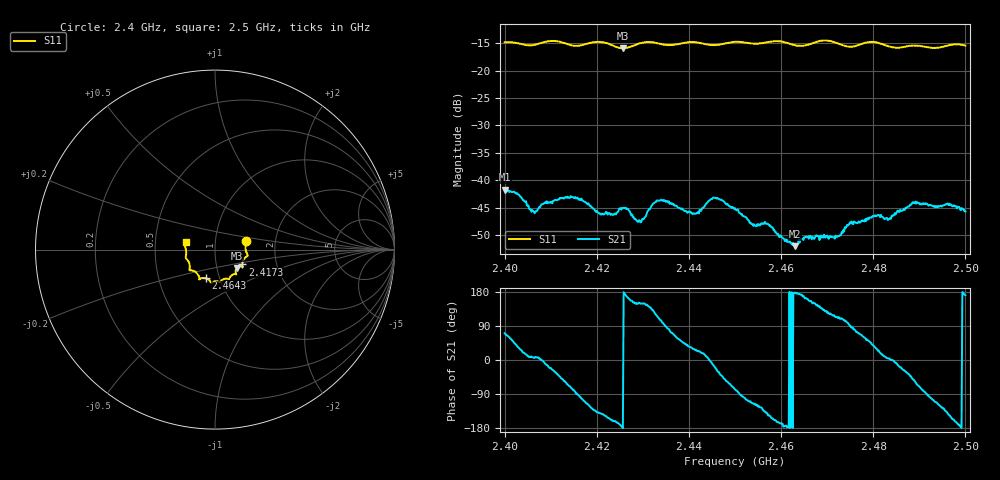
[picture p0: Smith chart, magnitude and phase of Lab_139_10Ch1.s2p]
# Hz S RI R 50
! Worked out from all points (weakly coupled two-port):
!   601 points, 2.4 GHz to 2.5 GHz, reference 50 ohm
!   highest |S21| = -41.74 dB at 2.4 GHz (marker M1); lowest = -52.0 dB at 2.463 GHz (marker M2)
!   lowest |S11| = -15.9 dB at 2.4257 GHz (marker M3), VSWR 1.38, Z = 62.4 - j13.1 ohm
!   |S11| at or under -10 dB: start of sweep to end of sweep
!   S12 and S22 are empty: the file has one direction only
!   S11 on the Smith chart (normalised r, x): 2.4 GHz: 1.41, +0.14; 2.4173 GHz: 1.34, -0.23; 2.4643 GHz: 0.86, -0.28; 2.5 GHz: 0.72, +0.06
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2.4e9  0.1741 0.0492  0.00271 0.00773  0 0  0 0
2.402667e9  0.1745 0.0367  0.00605 0.00464  0 0  0 0
2.406333e9  0.1711 -0.00333  0.00518 0.000532  0 0  0 0
2.412167e9  0.1787 -0.0368  0.00472 -0.00495  0 0  0 0
2.416667e9  0.1528 -0.075  -0.00137 -0.00665  0 0  0 0
2.417333e9  0.1522 -0.0824  -0.00206 -0.00601  0 0  0 0
2.421e9  0.1543 -0.0965  -0.00383 -0.003  0 0  0 0
2.425667e9  0.1223 -0.1025  -0.0056 -5.19e-05  0 0  0 0
2.429167e9  0.1159 -0.1325  -0.00379 0.00207  0 0  0 0
2.433333e9  0.1126 -0.1363  -0.00248 0.00602  0 0  0 0
2.441e9  0.0782 -0.1647  0.00436 0.00241  0 0  0 0
2.445667e9  0.0494 -0.1637  0.0065 -0.00229  0 0  0 0
2.45e9  0.0295 -0.1806  0.00123 -0.00542  0 0  0 0
2.463e9  -0.0363 -0.1662  -0.0025 0.000121  0 0  0 0
2.464333e9  -0.0501 -0.1601  -0.00284 0.000405  0 0  0 0
2.466667e9  -0.0762 -0.1596  -0.00255 0.00136  0 0  0 0
2.472167e9  -0.0879 -0.1549  -0.00119 0.0028  0 0  0 0
2.474833e9  -0.1049 -0.1276  -0.000135 0.00401  0 0  0 0
2.480333e9  -0.1428 -0.1127  0.00386 0.00266  0 0  0 0
2.483333e9  -0.1405 -0.0896  0.00439 0.000277  0 0  0 0
2.489e9  -0.1627 -0.0464  0.00347 -0.00509  0 0  0 0
2.5e9  -0.1635 0.0416  -0.00511 0.000828  0 0  0 0
